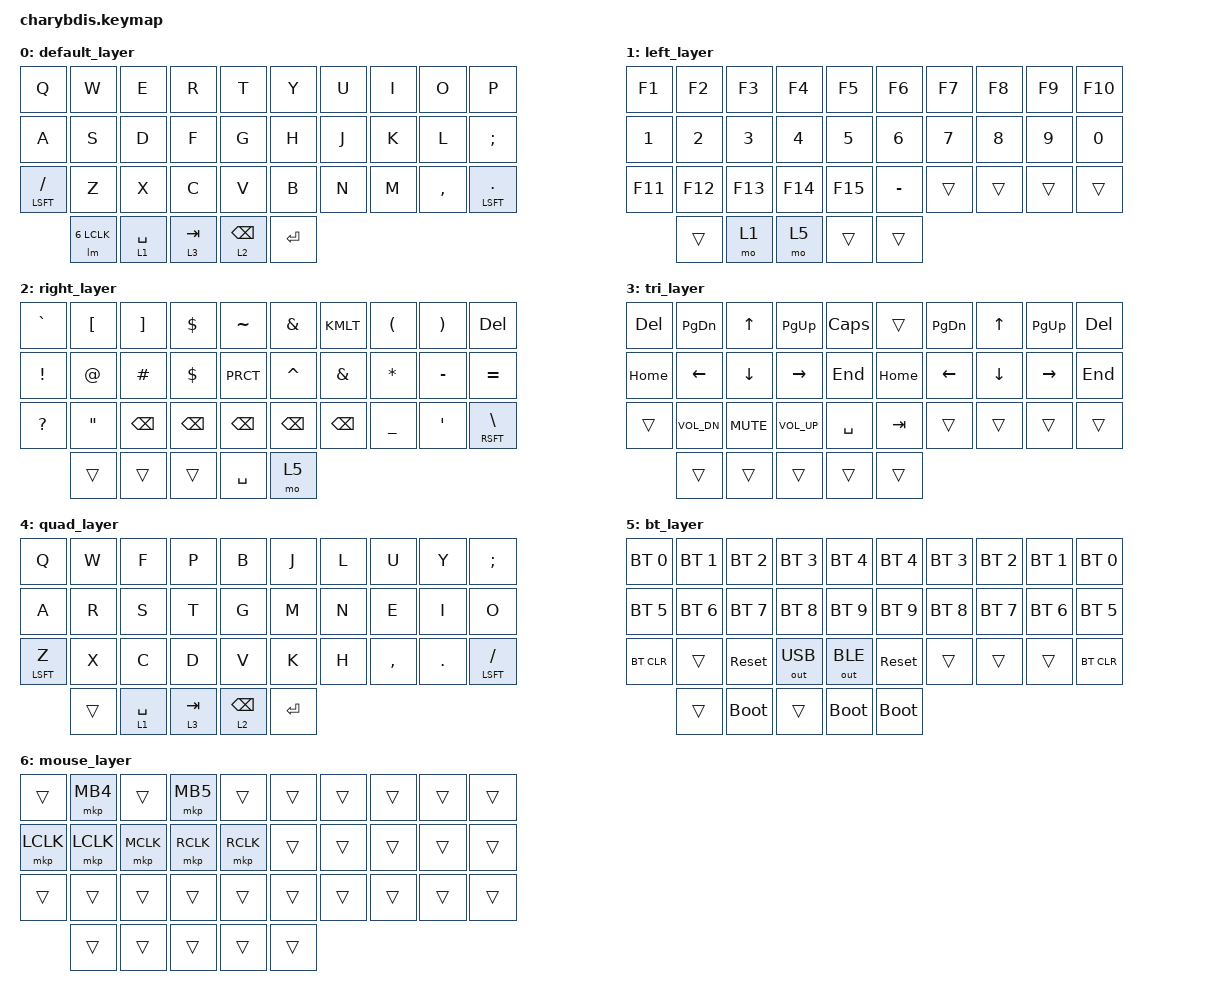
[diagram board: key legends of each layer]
#include <behaviors/mouse_keys.dtsi>
#include <behaviors/layer_mouse.dtsi>
#include <behaviors.dtsi>
#include <words.dtsi>
#include <dt-bindings/zmk/bt.h>
#include <dt-bindings/zmk/keys.h>
#include <dt-bindings/zmk/mouse.h>
#include <dt-bindings/zmk/outputs.h>


&lt {
  tapping-term-ms = <200>;
  quick_tap_ms = <200>;
  flavor = "hold-preferred";
};

/ {
  chosen {
    zmk,matrix_transform = &five_column_transform;
  };

  combos {
	  compatible = "zmk,combos";
      combo_enterprisedb {
		  timeout-ms = <50>;
		  key-positions = <2 4 25>;
		  bindings = <&enterprisedb>;
      };

	  combo_esc {
		  timeout-ms = <50>;
		  key-positions = <12 13>;
		  bindings = <&kp ESC>;
		  slow-release;
	  };

	  combo_ent {
		  timeout-ms = <50>;
		  key-positions = <13 24>;
		  bindings = <&kp RET>;
		  slow-release;
	  };

	  combo_bksp {
		  timeout-ms = <50>;
		  key-positions = <10 20>;
		  bindings = <&kp BKSP>;
		  slow-release;
	  };

	  combo_colemak {
		  timeout-ms = <50>;
		  key-positions = <5 25>;
		  bindings = <&tog 4>;
		  slow-release;
	  };

	  // home row combos

	  // left side

	  combo_lhome_alt {
		  timeout-ms = <50>;
		  key-positions = <32 13>;
		  bindings = <&kp LALT>;
		  slow-release;
	  };

	  combo_lhome_altgui {
		  timeout-ms = <50>;
		  key-positions = <32 12 13>;
		  bindings = <&kp LA(LGUI)>;
		  slow-release;
	  };

	  combo_lhome_altctl {
		  timeout-ms = <50>;
		  key-positions = <32 11 13>;
		  bindings = <&kp LA(LCTL)>;
		  slow-release;
	  };

	  combo_lhome_altguictl {
		  timeout-ms = <50>;
		  key-positions = <32 11 12 13>;
		  bindings = <&kp LA(LG(LCTRL))>;
		  slow-release;
	  };

	  combo_lhome_gui {
		  timeout-ms = <50>;
		  key-positions = <32 12>;
		  bindings = <&kp LGUI>;
		  slow-release;
	  };

	  combo_lhome_guictl {
		  timeout-ms = <50>;
		  key-positions = <32 11 12>;
		  bindings = <&kp LG(LCTRL)>;
		  slow-release;
	  };

	  combo_lhome_ctl {
		  timeout-ms = <50>;
		  key-positions = <32 11>;
		  bindings = <&kp LCTRL>;
		  slow-release;
	  };

	  // right side

	  combo_rhome_alt {
		  timeout-ms = <50>;
		  key-positions = <33 16>;
		  bindings = <&kp RALT>;
		  slow-release;
	  };

	  combo_rhome_altgui {
		  timeout-ms = <50>;
		  key-positions = <33 17 16>;
		  bindings = <&kp RA(RGUI)>;
		  slow-release;
	  };

	  combo_rhome_altctl {
		  timeout-ms = <50>;
		  key-positions = <33 18 16>;
		  bindings = <&kp RA(RCTL)>;
		  slow-release;
	  };

	  combo_rhome_altguictl {
		  timeout-ms = <50>;
		  key-positions = <33 18 17 16>;
		  bindings = <&kp RA(RG(RCTRL))>;
		  slow-release;
	  };

	  combo_rhome_gui {
		  timeout-ms = <50>;
		  key-positions = <33 17>;
		  bindings = <&kp RGUI>;
		  slow-release;
	  };

	  combo_rhome_guictl {
		  timeout-ms = <50>;
		  key-positions = <33 18 17>;
		  bindings = <&kp RG(RCTRL)>;
		  slow-release;
	  };

	  combo_rhome_ctl {
		  timeout-ms = <50>;
		  key-positions = <33 18>;
		  bindings = <&kp RCTRL>;
		  slow-release;
	  };

	  combo_lalt {
		   timeout-ms = <50>;
		   key-positions = <1 12>;
		   bindings = <&kp LALT>;
		   slow-release;
	   };
	   combo_lgui {
		   timeout-ms = <50>;
		   key-positions = <1 13>;
		   bindings = <&kp LGUI>;
		   slow-release;
	   };
	   combo_lctl {
		   timeout-ms = <50>;
		   key-positions = <2 13>;
		   bindings = <&kp LCTL>;
		   slow-release;
	   };
	   combo_ralt {
		   timeout-ms = <50>;
		   key-positions = <8 17>;
		   bindings = <&kp RALT>;
		   slow-release;
	   };
	   combo_rgui {
		   timeout-ms = <50>;
		   key-positions = <8 16>;
		   bindings = <&kp RGUI>;
		   slow-release;
	   };
	   combo_rctl {
		   timeout-ms = <50>;
		   key-positions = <7 16>;
		   bindings = <&kp RCTL>;
		   slow-release;
	   };
	   combo_laltgui {
		   timeout-ms = <50>;
		   key-positions = <11 2 3>;
		   bindings = <&kp LA(LGUI)>;
		   slow-release;
	   };
	   combo_laltctl {
		   timeout-ms = <50>;
		   key-positions = <1 12 3>;
		   bindings = <&kp LA(LCTL)>;
		   slow-release;
	   };
	   combo_lguictl {
		   timeout-ms = <50>;
		   key-positions = <1 2 13>;
		   bindings = <&kp LG(LCTL)>;
		   slow-release;
	   };
	   combo_raltgui {
		   timeout-ms = <50>;
		   key-positions = <6 7 18>;
		   bindings = <&kp RA(RGUI)>;
		   slow-release;
	   };
	   combo_raltctl {
		   timeout-ms = <50>;
		   key-positions = <6 17 8>;
		   bindings = <&kp RA(RCTL)>;
		   slow-release;
	   };
	   combo_rguictl {
		   timeout-ms = <50>;
		   key-positions = <16 7 8>;
		   bindings = <&kp RG(RCTL)>;
		   slow-release;
	   };


	   combo_ctl_w {
		   timeout-ms = <50>;
		   key-positions = <32 10>;
		   bindings = <&kp LC(W)>;
		   slow-release;
	   };

	   combo_ctl_s {
		   timeout-ms = <50>;
		   key-positions = <32 20>;
		   bindings = <&kp LC(S)>;
		   slow-release;
	   };

	   combo_hyper_lt {
		   timeout-ms = <30>;
		   key-positions = <32 0>;
		   bindings = <&kp LC(LG(LALT))>;
		   slow-release;
	   };

	   combo_hyper_rt {
		   timeout-ms = <30>;
		   key-positions = <33 9>;
		   bindings = <&kp LC(LG(LALT))>;
		   slow-release;
	   };

	   combo_hyper_l {
		   timeout-ms = <30>;
		   key-positions = <21 22>;
		   bindings = <&kp LC(LG(LALT))>;
		   slow-release;
	   };

	   combo_hyper_r {
		   timeout-ms = <30>;
		   key-positions = <27 28>;
		   bindings = <&kp LC(LG(LALT))>;
		   slow-release;
	   };

	   combo_mb1_r {
		   timeout-ms = <50>;
		   key-positions = <28 29>;
		   bindings = <&mkp LCLK>;
		   slow-release;
	   };

	   combo_mb2_r {
		   timeout-ms = <50>;
		   key-positions = <28 19>;
		   bindings = <&mkp RCLK>;
		   slow-release;
	   };

	   combo_mb3_r {
		   timeout-ms = <50>;
		   key-positions = <19 29>;
		   bindings = <&mkp MCLK>;
		   slow-release;
	   };
};

  keymap {
        compatible = "zmk,keymap";

        default_layer {
		bindings = <
		&kp Q &kp W &kp E &kp R &kp T 						&kp Y &kp U  &kp I    &kp O   &kp P
		&kp A &kp S &kp D &kp F &kp G 			        	        &kp H &kp J &kp K &kp L &kp SCLN
		&mt LSFT FSLH &kp Z &kp X &kp C &kp V 				        &kp B &kp N &kp M  &kp CMMA &mt LSFT DOT
					&lm 6 LCLK &lt 1 SPC &lt 3 TAB   			&lt 2 BKSP &kp RET 
		>;
	};

	left_layer {
		bindings = <
		&kp F1    &kp F2        &kp F3      &kp F4        &kp F5		&kp F6     &kp F7  &kp F8   &kp F9     &kp F10
		&kp N1    &kp N2        &kp N3      &kp N4        &kp N5		&kp N6     &kp N7  &kp N8   &kp N9     &kp N0
		&kp F11    &kp F12 	&kp F13     &kp F14       &kp F15        	&kp MINUS  &trans  &trans   &trans     &trans
					   &trans &mo 1  &mo 5  					&trans &trans 
		>;
	};

	right_layer {
		bindings = <
		&kp GRAVE  &kp LBKT &kp RBKT  &kp DLLR  &kp TILDE    			&kp AMPS  &kp KMLT &kp LPRN &kp RPRN &kp DEL
		&kp EXCL  &kp AT  &kp HASH  &kp DLLR  &kp PRCT 			&kp CARET &kp AMPS  &kp STAR  &kp MINUS   &kp EQUAL
		&kp QMARK  &kp DQT &kp BKSP &kp BKSP   &kp BKSP    			&kp BKSP &kp BKSP &kp UNDER &kp SQT  &mt RSFT BSLH
					&trans &trans &trans  				&kp SPC  &mo 5 
		>;
	};

	tri_layer {
		bindings = <
		&kp DEL  &kp PG_DN   &kp UP   &kp PG_UP &kp CAPS			&trans &kp PG_DN   &kp UP   &kp PG_UP  &kp DEL
		&kp HOME &kp LEFT  &kp DOWN &kp RIGHT &kp END				&kp HOME &kp LEFT  &kp DOWN &kp RIGHT &kp END 
		&trans  &kp K_VOL_DN &kp K_MUTE &kp K_VOL_UP &kp SPC  		&kp TAB &trans &trans &trans &trans   
					 &trans &trans   				&trans &trans &trans
		>;
	};

	quad_layer {
		bindings = <
		&kp Q &kp W &kp F &kp P &kp B 						&kp J &kp L  &kp U    &kp Y   &kp SCLN
		&kp A &kp R &kp S &kp T &kp G 			        	        &kp M &kp N &kp E &kp I &kp O
		&mt LSFT Z &kp X &kp C &kp D &kp V 				        &kp K &kp H &kp CMMA &kp DOT &mt LSFT FSLH
					&trans &lt 1 SPC &lt 3 TAB  				&lt 2 BKSP &kp RET 
		>;
	};
	bt_layer {
		bindings = <
		&bt BT_SEL 0 &bt BT_SEL 1 &bt BT_SEL 2 &bt BT_SEL 3 &bt BT_SEL 4        &bt BT_SEL 4 &bt BT_SEL 3 &bt BT_SEL 2 &bt BT_SEL 1 &bt BT_SEL 0
		&bt BT_SEL 5 &bt BT_SEL 6 &bt BT_SEL 7 &bt BT_SEL 8 &bt BT_SEL 9        &bt BT_SEL 9 &bt BT_SEL 8 &bt BT_SEL 7 &bt BT_SEL 6 &bt BT_SEL 5
		&bt BT_CLR  &trans &sys_reset &out OUT_USB &out OUT_BLE        &sys_reset &trans &trans &trans &bt BT_CLR
					&trans &bootloader &trans  				&bootloader &bootloader
		>;
	};
	mouse_layer {
		bindings = <
		&trans &mkp MB4 &trans &mkp MB5 &trans        &trans &trans &trans &trans &trans
		&mkp LCLK &mkp LCLK &mkp MCLK &mkp RCLK &mkp RCLK        &trans &trans &trans &trans &trans
		&trans &trans &trans &trans &trans        &trans &trans &trans &trans &trans
					&trans &trans &trans  				&trans &trans
		>;
	};
    };
};
